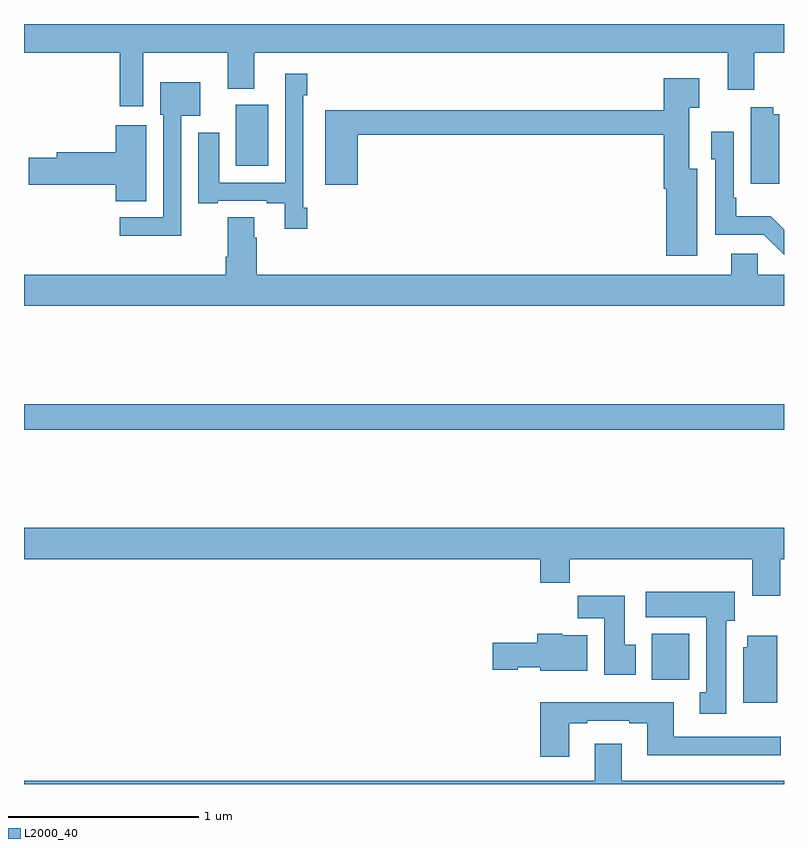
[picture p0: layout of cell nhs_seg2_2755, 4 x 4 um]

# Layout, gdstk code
import gdstk
lib = gdstk.Library(unit=1e-6, precision=1e-09)
def R(c, l, rs):  # rectangles x0, y0, x1, y1
    for r in rs: c.add(gdstk.rectangle(r[:2], r[2:], *l))
def P(c, l, *ps):  # polygons
    for p in ps: c.add(gdstk.Polygon(p, *l))
L2000_40 = (2000, 40)

nhs_seg2_2755 = lib.new_cell('nhs_seg2_2755')
R(nhs_seg2_2755, L2000_40, [(258.305,632.348,258.502,632.59), (255,633.664,259,633.8), (256.115,635.054,256.285,635.374)])
P(nhs_seg2_2755, L2000_40, [(255.628,635.648),(256.073,635.648),(256.073,635.459),(256.213,635.459),(256.213,635.648),(258.704,635.648),(258.704,635.454),(258.844,635.454),(258.844,635.648),(259,635.648),(259,635.8),(255,635.8),(255,635.648),(255.503,635.648),(255.503,635.367),(255.628,635.367)],
  [(256.49,634.834),(256.47,634.834),(256.47,635.426),(256.49,635.426),(256.49,635.539),(256.374,635.539),(256.374,634.965),(256.027,634.965),(256.027,635.227),(255.917,635.227),(255.917,634.857),(256.021,634.857),(256.021,634.869),(256.277,634.869),(256.277,634.857),(256.373,634.857),(256.373,634.722),(256.49,634.722)],
  [(258.544,635.038),(258.502,635.038),(258.502,635.359),(258.553,635.359),(258.553,635.515),(258.368,635.515),(258.368,635.347),(256.586,635.347),(256.586,634.953),(256.757,634.953),(256.757,635.218),(258.368,635.218),(258.368,634.934),(258.38,634.934),(258.38,634.581),(258.544,634.581)],
  [(255.828,635.318),(255.928,635.318),(255.928,635.494),(255.716,635.494),(255.716,635.322),(255.732,635.322),(255.732,634.782),(255.504,634.782),(255.504,634.685),(255.828,634.685)],
  [(258.976,635.326),(258.944,635.326),(258.944,635.363),(258.824,635.363),(258.824,634.959),(258.976,634.959)],
  [(255.643,635.266),(255.482,635.266),(255.482,635.126),(255.173,635.126),(255.173,635.096),(255.024,635.096),(255.024,634.954),(255.482,634.954),(255.482,634.867),(255.643,634.867)],
  [(259,634.718),(258.929,634.789),(258.748,634.789),(258.748,634.885),(258.735,634.885),(258.735,635.233),(258.618,635.233),(258.618,635.088),(258.639,635.088),(258.639,634.692),(258.894,634.692),(259,634.586)],
  [(259,634.48),(258.861,634.48),(258.861,634.59),(258.722,634.59),(258.722,634.48),(256.226,634.48),(256.226,634.676),(256.213,634.676),(256.213,634.784),(256.073,634.784),(256.073,634.576),(256.061,634.576),(256.061,634.48),(255,634.48),(255,634.316),(259,634.316)],
  [(258.981,632.984),(259,632.984),(259,633.148),(255,633.148),(255,632.984),(257.717,632.984),(257.717,632.86),(257.873,632.86),(257.873,632.984),(258.833,632.984),(258.833,632.79),(258.981,632.79)],
  [(258.697,632.658),(258.742,632.658),(258.742,632.812),(258.273,632.812),(258.273,632.678),(258.59,632.678),(258.59,632.282),(258.557,632.282),(258.557,632.169),(258.697,632.169)],
  [(258.22,632.532),(258.163,632.532),(258.163,632.791),(257.914,632.791),(257.914,632.672),(258.053,632.672),(258.053,632.376),(258.22,632.376)],
  [(257.965,632.584),(257.832,632.584),(257.832,632.59),(257.702,632.59),(257.702,632.544),(257.466,632.544),(257.466,632.402),(257.598,632.402),(257.598,632.414),(257.718,632.414),(257.718,632.396),(257.965,632.396)],
  [(258.964,632.581),(258.806,632.581),(258.806,632.52),(258.785,632.52),(258.785,632.228),(258.964,632.228)],
  [(257.869,632.121),(257.965,632.121),(257.965,632.133),(258.185,632.133),(258.185,632.121),(258.281,632.121),(258.281,631.952),(258.982,631.952),(258.982,632.049),(258.421,632.049),(258.421,632.23),(257.717,632.23),(257.717,631.944),(257.869,631.944)],
  [(258.145,632.011),(258.005,632.011),(258.005,631.816),(255,631.816),(255,631.8),(259,631.8),(259,631.816),(258.145,631.816)])

lib.write_gds('nhs_seg2_2755.gds')
